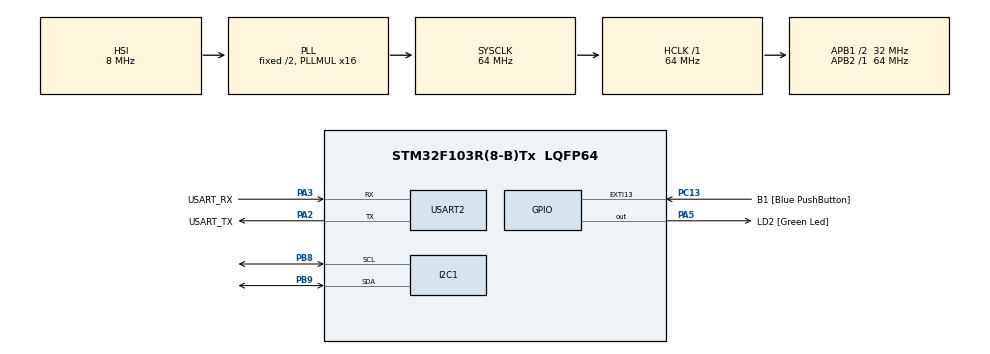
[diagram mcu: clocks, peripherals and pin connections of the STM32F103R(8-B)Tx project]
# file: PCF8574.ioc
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I2C1.I2C_Mode=I2C_Standard
Mcu.Family=STM32F1
Mcu.Name=STM32F103R(8-B)Tx
Mcu.Package=LQFP64
NVIC.EXTI15_10_IRQn=true\:0\:0\:false\:false\:true\:true\:true\:true
NVIC.PriorityGroup=NVIC_PRIORITYGROUP_4
PA13.GPIO_Label=TMS
PA13.Mode=Serial_Wire
PA13.Signal=SYS_JTMS-SWDIO
PA14.GPIO_Label=TCK
PA14.Mode=Serial_Wire
PA14.Signal=SYS_JTCK-SWCLK
PA2.GPIO_Label=USART_TX
PA2.GPIO_Mode=GPIO_MODE_AF_PP
PA2.GPIO_PuPd=GPIO_NOPULL
PA2.GPIO_Speed=GPIO_SPEED_FREQ_LOW
PA2.Mode=Asynchronous
PA2.Signal=USART2_TX
PA3.GPIO_Label=USART_RX
PA3.GPIO_Mode=GPIO_MODE_AF_PP
PA3.GPIO_PuPd=GPIO_NOPULL
PA3.GPIO_Speed=GPIO_SPEED_FREQ_LOW
PA3.Mode=Asynchronous
PA3.Signal=USART2_RX
PA5.GPIO_Label=LD2 [Green Led]
PA5.GPIO_ModeDefaultOutputPP=GPIO_MODE_OUTPUT_PP
PA5.GPIO_PuPd=GPIO_NOPULL
PA5.GPIO_Speed=GPIO_SPEED_FREQ_LOW
PA5.Signal=GPIO_Output
PB3.GPIO_Label=SWO
PB3.Signal=SYS_JTDO-TRACESWO
PB8.Mode=I2C
PB8.Signal=I2C1_SCL
PB9.Mode=I2C
PB9.Signal=I2C1_SDA
PC13-TAMPER-RTC.GPIO_Label=B1 [Blue PushButton]
PC13-TAMPER-RTC.GPIO_PuPd=GPIO_NOPULL
PC13-TAMPER-RTC.Signal=GPXTI13
PC14-OSC32_IN.Mode=LSE-External-Oscillator
PC14-OSC32_IN.Signal=RCC_OSC32_IN
PC15-OSC32_OUT.Mode=LSE-External-Oscillator
PC15-OSC32_OUT.Signal=RCC_OSC32_OUT
PD0-OSC_IN.Mode=HSE-External-Clock-Source
PD0-OSC_IN.Signal=RCC_OSC_IN
PD1-OSC_OUT.Mode=HSE-External-Clock-Source
PD1-OSC_OUT.Signal=RCC_OSC_OUT
ProjectManager.HeapSize=0x200
ProjectManager.StackSize=0x400
ProjectManager.TargetToolchain=STM32CubeIDE
RCC.AHBFreq_Value=64000000
RCC.APB1CLKDivider=RCC_HCLK_DIV2
RCC.APB1Freq_Value=32000000
RCC.APB1TimFreq_Value=64000000
RCC.APB2Freq_Value=64000000
RCC.APB2TimFreq_Value=64000000
RCC.HCLKFreq_Value=64000000
RCC.PLLMUL=RCC_PLL_MUL16
RCC.RTCClockSelection=RCC_RTCCLKSOURCE_LSE
RCC.SYSCLKFreq_VALUE=64000000
RCC.SYSCLKSource=RCC_SYSCLKSOURCE_PLLCLK
RCC.USBFreq_Value=64000000
USART2.VirtualMode=VM_ASYNC
board=NUCLEO-F103RB

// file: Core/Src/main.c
/* USER CODE BEGIN Header */
/**
  ******************************************************************************
  * @file           : main.c
  * @brief          : Main program body
  ******************************************************************************
  * @attention
  *
  * Copyright (c) 2026 STMicroelectronics.
  * All rights reserved.
  *
  * This software is licensed under terms that can be found in the LICENSE file
  * in the root directory of this software component.
  * If no LICENSE file comes with this software, it is provided AS-IS.
  *
  ******************************************************************************
  */
/**
 * 01_PCF8574  —  [계층: HAL + 사용자 드라이버(i2c_lcd)]  I2C 백팩(PCF8574)을 단 문자 LCD 제어
 *
 * 구성
 *   I2C1 (100kHz, PB8/PB9 로 리맵) -> PCF8574 (I/O 확장기) -> HD44780 문자 LCD (4비트 모드)
 *   i2c_lcd.h : 외부 라이브러리 I2C-LCD-STM32 (PlatformIO lib_deps) — HAL I2C 호출을 감싼 LCD 드라이버
 *
 * 하드웨어 대응 (RM0008)
 *   AFIO_MAPR.I2C1_REMAP = 1 : I2C1 을 PB6/PB7 에서 PB8/PB9 로 이동 (HAL_msp 에서 설정)
 *   I2C1_CR1, CCR, TRISE      : 100kHz 표준 모드 타이밍
 *   HAL_I2C_IsDeviceReady     : 주소 바이트를 보내 ACK 여부를 확인 (I2C 스캐너)
 *   LCD 주소 0x4E = 7비트 0x27 << 1  (HAL 은 8비트 형태 주소를 요구)
 *
 * 인터럽트/콜백 없음 (폴링 방식의 블로킹 전송). ISR 은 SysTick_Handler(HAL_Delay 용)뿐이다.
 */
/* USER CODE END Header */
#include "main.h"

/* USER CODE BEGIN Includes */
#include <stdio.h>
#include "i2c_lcd.h" // 다운로드된 드라이버 헤더 결합
/* USER CODE END Includes */

/* USER CODE BEGIN PV */
// 1. LCD 핸들 인스턴스 선언 (전역 또는 main 상단)
I2C_LCD_HandleTypeDef lcd1;
I2C_HandleTypeDef hi2c1;

UART_HandleTypeDef huart2;
/* USER CODE END PV */

void SystemClock_Config(void);
static void MX_GPIO_Init(void);
static void MX_I2C1_Init(void);
static void MX_USART2_UART_Init(void);

/* USER CODE BEGIN 0 */
// 아래 코드가 있어야만 printf했을 때 UART2로 출력된다.
#ifdef __GNUC__
#define PUTCHAR_PROTOTYPE int __io_putchar(int ch)
#else
#define PUTCHAR_PROTOTYPE int fputc(int ch, FILE *f)
#endif
PUTCHAR_PROTOTYPE {
	if (ch == '\n')
		HAL_UART_Transmit(&huart2, (uint8_t*) "\r", 1, 0xFFFF);
	HAL_UART_Transmit(&huart2, (uint8_t*) &ch, 1, 0xFFFF);
	return ch;
}
/* USER CODE END 0 */

int main(void)
{

  /* MCU Configuration--------------------------------------------------------*/

  /* Reset of all peripherals, Initializes the Flash interface and the Systick. */
  HAL_Init();

  /* Configure the system clock */
  SystemClock_Config();

  /* Initialize all configured peripherals */
  MX_GPIO_Init();
  MX_I2C1_Init();
  MX_USART2_UART_Init();
  /* USER CODE BEGIN 2 */
  HAL_Delay(1000);
  // I2C 스캐너 — 실제 주소 확인용
	printf("I2C Scan Start\n");
	for (uint8_t addr = 0x00; addr < 0xF0; addr += 2) {
		if (HAL_I2C_IsDeviceReady(&hi2c1, addr, 1, 10) == HAL_OK) {
			printf("Found: 0x%02X (7bit: 0x%02X)\n", addr, addr >> 1);
		}
	}
	printf("I2C Scan Done\n");

  // 2. 핸들에 하드웨어 레일 바인딩
  lcd1.hi2c    = &hi2c1;
  lcd1.address = 0x4E;   // PCF8574 기본 주소: 0x27<<1 = 0x4E

  // 3. LCD 초기화 (백라이트 자동 ON 포함)
  lcd_init(&lcd1);

  // 4. 디스플레이 클리어
  lcd_clear(&lcd1);
  printf("LCD clear\n");

  // 5. 1행 출력: gotoxy(col, row) → puts()
  lcd_gotoxy(&lcd1, 0, 0);
  lcd_puts(&lcd1, "STM32 with C Code");
  printf("STM32 with C Code\n");

  // 6. 2행 출력
  lcd_gotoxy(&lcd1, 0, 1);
  lcd_puts(&lcd1, "No OOP Paradigm");
  printf("No OOP Paradigm\n");

  /* USER CODE END 2 */

  /* Infinite loop */
  while (1)
  {

    /* USER CODE BEGIN 3 */
    HAL_GPIO_TogglePin(LD2_GPIO_Port, LD2_Pin);
    HAL_Delay(500);
  }
  /* USER CODE END 3 */
}

void SystemClock_Config(void)
{
  RCC_OscInitTypeDef RCC_OscInitStruct = {0};
  RCC_ClkInitTypeDef RCC_ClkInitStruct = {0};

  /** Initializes the RCC Oscillators according to the specified parameters
  * in the RCC_OscInitTypeDef structure.
  */
  RCC_OscInitStruct.OscillatorType = RCC_OSCILLATORTYPE_HSI;
  RCC_OscInitStruct.HSIState = RCC_HSI_ON;
  RCC_OscInitStruct.HSICalibrationValue = RCC_HSICALIBRATION_DEFAULT;
  RCC_OscInitStruct.PLL.PLLState = RCC_PLL_ON;
  RCC_OscInitStruct.PLL.PLLSource = RCC_PLLSOURCE_HSI_DIV2;
  RCC_OscInitStruct.PLL.PLLMUL = RCC_PLL_MUL16;
  if (HAL_RCC_OscConfig(&RCC_OscInitStruct) != HAL_OK)
  {
    Error_Handler();
  }

  /** Initializes the CPU, AHB and APB buses clocks
  */
  RCC_ClkInitStruct.ClockType = RCC_CLOCKTYPE_HCLK|RCC_CLOCKTYPE_SYSCLK
                              |RCC_CLOCKTYPE_PCLK1|RCC_CLOCKTYPE_PCLK2;
  RCC_ClkInitStruct.SYSCLKSource = RCC_SYSCLKSOURCE_PLLCLK;
  RCC_ClkInitStruct.AHBCLKDivider = RCC_SYSCLK_DIV1;
  RCC_ClkInitStruct.APB1CLKDivider = RCC_HCLK_DIV2;
  RCC_ClkInitStruct.APB2CLKDivider = RCC_HCLK_DIV1;

  if (HAL_RCC_ClockConfig(&RCC_ClkInitStruct, FLASH_LATENCY_2) != HAL_OK)
  {
    Error_Handler();
  }
}

static void MX_I2C1_Init(void)
{

  hi2c1.Instance = I2C1;
  hi2c1.Init.ClockSpeed = 100000;
  hi2c1.Init.DutyCycle = I2C_DUTYCYCLE_2;
  hi2c1.Init.OwnAddress1 = 0;
  hi2c1.Init.AddressingMode = I2C_ADDRESSINGMODE_7BIT;
  hi2c1.Init.DualAddressMode = I2C_DUALADDRESS_DISABLE;
  hi2c1.Init.OwnAddress2 = 0;
  hi2c1.Init.GeneralCallMode = I2C_GENERALCALL_DISABLE;
  hi2c1.Init.NoStretchMode = I2C_NOSTRETCH_DISABLE;
  if (HAL_I2C_Init(&hi2c1) != HAL_OK)
  {
    Error_Handler();
  }

}

static void MX_USART2_UART_Init(void)
{

  huart2.Instance = USART2;
  huart2.Init.BaudRate = 115200;
  huart2.Init.WordLength = UART_WORDLENGTH_8B;
  huart2.Init.StopBits = UART_STOPBITS_1;
  huart2.Init.Parity = UART_PARITY_NONE;
  huart2.Init.Mode = UART_MODE_TX_RX;
  huart2.Init.HwFlowCtl = UART_HWCONTROL_NONE;
  huart2.Init.OverSampling = UART_OVERSAMPLING_16;
  if (HAL_UART_Init(&huart2) != HAL_OK)
  {
    Error_Handler();
  }

}

static void MX_GPIO_Init(void)
{
  GPIO_InitTypeDef GPIO_InitStruct = {0};

  /* GPIO Ports Clock Enable */
  __HAL_RCC_GPIOC_CLK_ENABLE();
  __HAL_RCC_GPIOD_CLK_ENABLE();
  __HAL_RCC_GPIOA_CLK_ENABLE();
  __HAL_RCC_GPIOB_CLK_ENABLE();

  /*Configure GPIO pin Output Level */
  HAL_GPIO_WritePin(LD2_GPIO_Port, LD2_Pin, GPIO_PIN_RESET);

  /*Configure GPIO pin : B1_Pin */
  GPIO_InitStruct.Pin = B1_Pin;
  GPIO_InitStruct.Mode = GPIO_MODE_IT_RISING;
  GPIO_InitStruct.Pull = GPIO_NOPULL;
  HAL_GPIO_Init(B1_GPIO_Port, &GPIO_InitStruct);

  /*Configure GPIO pin : LD2_Pin */
  GPIO_InitStruct.Pin = LD2_Pin;
  GPIO_InitStruct.Mode = GPIO_MODE_OUTPUT_PP;
  GPIO_InitStruct.Pull = GPIO_NOPULL;
  GPIO_InitStruct.Speed = GPIO_SPEED_FREQ_LOW;
  HAL_GPIO_Init(LD2_GPIO_Port, &GPIO_InitStruct);

  /* EXTI interrupt init*/
  HAL_NVIC_SetPriority(EXTI15_10_IRQn, 0, 0);
  HAL_NVIC_EnableIRQ(EXTI15_10_IRQn);

}

void Error_Handler(void)
{
  __disable_irq();
  while (1)
  {
  }
}
